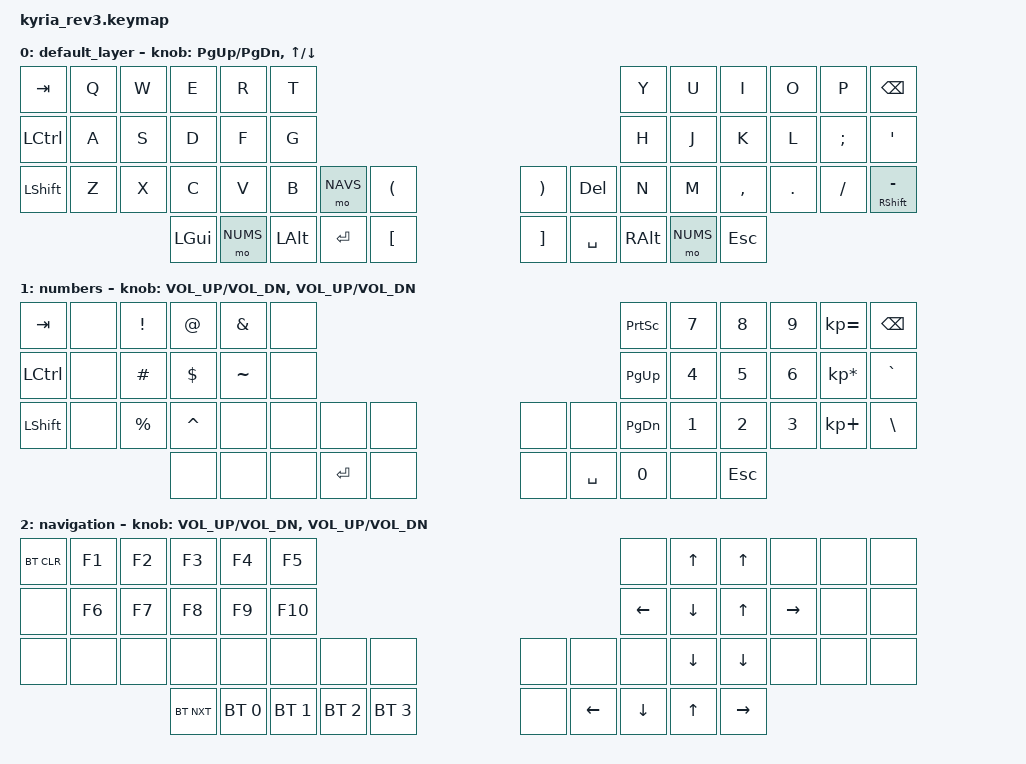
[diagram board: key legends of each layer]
/*
 * Copyright (c) 2023 The ZMK Contributors
 *
 * SPDX-License-Identifier: MIT
 *
 */

#include <behaviors.dtsi>
#include <dt-bindings/zmk/keys.h>
#include <dt-bindings/zmk/bt.h>


/* Uncomment this block if using RGB
&led_strip {
    chain-length = <6>;
    // chain-length = <31>; // Uncomment if using both per-key and underglow LEDs
    // chain-length = <25>; // Uncomment if using only per-key LEDs.
};
 */

#define DEFAULT 0
#define NUMS    1
#define NAVS    2

/ {
    keymap {
        compatible = "zmk,keymap";

        default_layer {
            // ---------------------------------------------------------------------------------------------------------------------------------
            // |  ESC  |  Q  |  W  |  E   |  R     |  T     |                                                                              |  Y     |  U      |  I    |  O   |   P      |   \       |
            // | SHIFT |  A  |  S  |  D   |  F     |  G     |                                                                              |  H     |  J      |  K    |  L   |   ;      |  SHIFT '  |
            // |  CTL  |  Z  |  X  |  C   |  V     |  B     |  RET NAVS      |   (                |  |       )             |   DEL NAVS    |  N     |  M      |  ,    |  .   |   /      |   - _     |
            //                     | GUI  | CMD    |  ALT   |  SPACE NUMS    |   [{               |  |       }]            |   BSP NUMS    |  TAB   | CMD     |  GUI  |

            // ---------------------------------------------------------------------------------------------------------------------------------
            // |  TAB  |  Q  |  W  |  E   |  R     |  T     |                                                                              |  Y     |  U      |  I    |  O   |   P      |  Backspace|
            // | SHIFT |  A  |  S  |  D   |  F     |  G     |                                                                              |  H     |  J      |  K    |  L   |   ;      |   '  |
            // |  CTL  |  Z  |  X  |  C   |  V     |  B     |  NAVS          |   (                |  |       )             |   DEL NAVS    |  N     |  M      |  ,    |  .   |   /      |  SHIFT - _     |
            //                     | GUI  | CMD    |  ALT   |  ENTER         |   [{               |  |       }]            |   SPACE       |  RALT  | NUM     |  ESC  |

            bindings = <
            &kp TAB   &kp Q &kp W &kp E    &kp R    &kp T                                                                                   &kp Y    &kp U    &kp I     &kp O   &kp P    &kp BACKSPACE
            &kp LCTRL &kp A &kp S &kp D    &kp F    &kp G                                                                                   &kp H    &kp J    &kp K     &kp L   &kp SEMI &kp SQT
            &kp LSHFT &kp Z &kp X &kp C    &kp V    &kp B    &mo NAVS         &kp LEFT_PARENTHESIS    &kp RIGHT_PARENTHESIS &kp DEL         &kp N    &kp M    &kp COMMA &kp DOT &kp FSLH &mt RSHIFT MINUS
                                 &kp LGUI &mo NUMS  &kp LALT &kp RET          &kp LEFT_BRACKET        &kp RIGHT_BRACKET     &kp SPC         &kp RALT &mo NUMS &kp ESC
            >;

            //bindings = <
            //&kp ESC   &kp Q &kp W &kp E    &kp R    &kp T                                                                                   &kp Y    &kp U    &kp I     &kp O   &kp P    &kp BACKSPACE
            //&kp LSHFT &kp A &kp S &kp D    &kp F    &kp G                                                                                   &kp H    &kp J    &kp K     &kp L   &kp SEMI &mt RSHIFT SQT
            //&kp LCTRL &kp Z &kp X &kp C    &kp V    &kp B    &lt NAVS RET     &kp LEFT_PARENTHESIS    &kp RIGHT_PARENTHESIS &lt NAVS DEL    &kp N    &kp M    &kp COMMA &kp DOT &kp FSLH &kp MINUS
            //                      &kp LGUI &kp LCMD &kp LALT &lt NUMS SPACE   &kp LEFT_BRACKET        &kp RIGHT_BRACKET     &lt NUMS BSPC   &kp TAB  &kp RCMD &kp RGUI
            //>;

            sensor-bindings = <&inc_dec_kp PG_UP PG_DN &inc_dec_kp UP DOWN>;
        };

        numbers {
            // ---------------------------------------------------------------------------------------------------------------------------------
            // | _ | _ |  !         |  @        |  &      | _   |                           | _   |  7  |  8    |  9   |     =         |   \ |
            // | _ | _ |  #         |  $        |  ~      | _   |                           | _   |  4  |  5    |  6   |     *         |   ` |
            // | _ | _ |  %         |  ^        |  _      | _   | _   | _ |     | _   | _   | _   |  1  |  2    |  3   |     +         |   _ |
            //                      |  _        |  _      | _   | _   | _ |     | _   | _   | _   |    |  _    |
            bindings = <
            &kp TAB   &none &kp EXCL     &kp AT_SIGN &kp AMPS  &none                              &kp PRINTSCREEN &kp N7 &kp N8 &kp N9 &kp KP_EQUAL    &kp BACKSPACE
            &kp LCTRL &none &kp HASH     &kp DOLLAR  &kp TILDE &none                               &kp PG_UP      &kp N4 &kp N5 &kp N6 &kp KP_MULTIPLY &kp GRAVE
            &kp LSHFT &none &kp PERCENT  &kp CARET   &none   &none &none &none         &none &none &kp PG_DN      &kp N1 &kp N2 &kp N3 &kp KP_PLUS     &kp BSLH
                                       &none       &none     &none &kp RET &none       &none &kp SPC &kp N0 &none  &kp ESC
            >;

            sensor-bindings = <&inc_dec_kp C_VOL_UP C_VOL_DN &inc_dec_kp C_VOL_UP C_VOL_DN>;
        };

        navigation {
            // ---------------------------------------------------------------------------------------------------------------------------------
            // | BT_CLR | F1  |  F2   |  F3      |  F4        | F5         |                                         | _      |  _      |  _  |  _      |   _   | _ |
            // | _      | _   |  _    |  _       |  _         | _          |                                         | l      |  d      |  u  |  r      |   _   | _ |
            // | _      | _   |  _    |  _       |  _         | _          |   _       |  _   |          | _   | _   | _      |  _      |  _  |  _      |   _   | _ |
            //                        |  BT_NXT  |  BT0       | BT1        | BT2       | BT3  |          | _   | _   | _      |  _      |  _  |
            bindings = <
            &bt BT_CLR  &kp F1 &kp F2 &kp F3     &kp F4       &kp F5                                                  &none    &kp UP    &kp UP  &none     &none &none
            &none       &kp F6 &kp F7 &kp F8     &kp F9       &kp F10                                               &kp LEFT &kp DOWN &kp UP &kp RIGHT &none &none
            &none       &none  &none  &none      &none        &none        &none        &none             &none &none &none    &kp DOWN &kp DOWN  &none    &none &none
                                      &bt BT_NXT &bt BT_SEL 0 &bt BT_SEL 1 &bt BT_SEL 2 &bt BT_SEL 3      &none &kp LEFT &kp DOWN  &kp UP &kp RIGHT
            >;

            sensor-bindings = <&inc_dec_kp C_VOL_UP C_VOL_DN &inc_dec_kp C_VOL_UP C_VOL_DN>;
        };

    };
};
